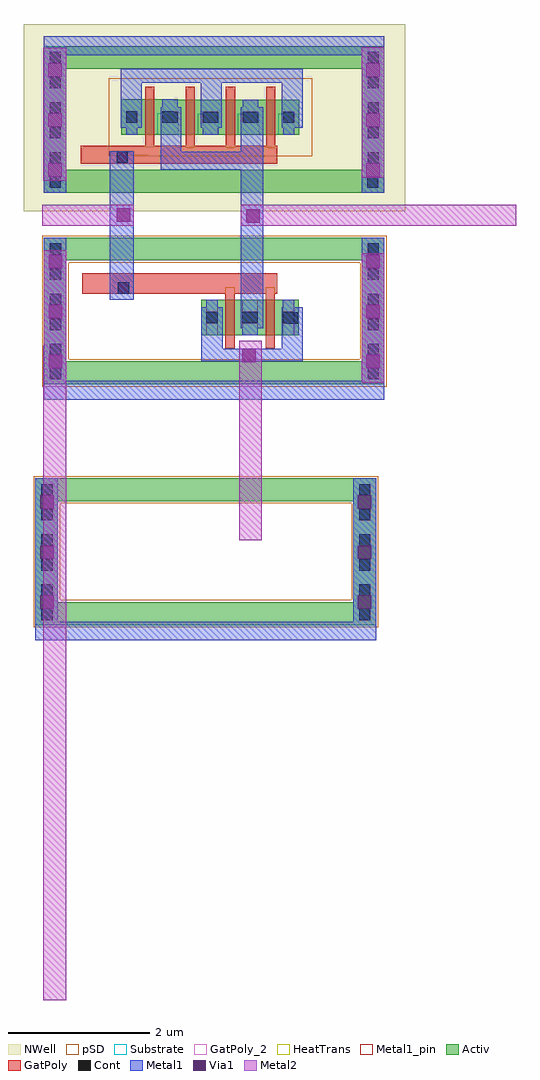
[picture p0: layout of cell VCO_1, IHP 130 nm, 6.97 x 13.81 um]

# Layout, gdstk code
from math import pi, radians
import gdstk
lib = gdstk.Library(unit=1e-6, precision=5e-10)
def R(c, l, rs):  # rectangles x0, y0, x1, y1
    for r in rs: c.add(gdstk.rectangle(r[:2], r[2:], *l))
def A(c, l, x, y, w, h, nx, ny, dx, dy):  # array of equal rectangles
    R(c, l, [(x+i*dx, y+j*dy, x+i*dx+w, y+j*dy+h) for i in range(nx) for j in range(ny)])
Activ = (1, 0)
GatPoly = (5, 0)
GatPoly_2 = (5, 2)
Cont = (6, 0)
Metal1 = (8, 0)
Metal1_pin = (8, 2)
Metal2 = (10, 0)
pSD = (14, 0)
Via1 = (19, 0)
NWell = (31, 0)
Substrate = (40, 0)
HeatTrans = (51, 0)

nmos_4 = lib.new_cell('nmos$4')
R(nmos_4, Activ, [(0,0,0.3,0.3), (0,0,0.81,0.5), (0.51,0,0.81,0.3)])
R(nmos_4, GatPoly, [(0.34,-0.18,0.47,0.68)])
R(nmos_4, GatPoly_2, [(0.34,-0.18,0.47,0.68)])
R(nmos_4, Cont, [(0.07,0.17,0.23,0.33), (0.58,0.17,0.74,0.33)])
R(nmos_4, Metal1, [(0.07,0,0.23,0.5), (0.58,0,0.74,0.5)])
R(nmos_4, Metal1_pin, [(0.07,0,0.23,0.5), (0.58,0,0.74,0.5)])
R(nmos_4, HeatTrans, [(0.34,-0.18,0.47,0.68)])
nmos_4.add(gdstk.Label('nmos', (0.405,0.25), layer=63, texttype=0))
nmos_4.add(gdstk.Label('nmos', (0.405,0.25), layer=51, texttype=0))

pmos_4 = lib.new_cell('pmos$4')
R(pmos_4, Activ, [(0,0,0.3,0.3), (0,0,0.81,0.5), (0.51,0,0.81,0.3)])
R(pmos_4, GatPoly, [(0.34,-0.18,0.47,0.68), (0.34,-0.18,0.47,0.68)])
R(pmos_4, Cont, [(0.07,0.17,0.23,0.33), (0.58,0.17,0.74,0.33)])
R(pmos_4, Metal1, [(0.07,0,0.23,0.5), (0.07,0,0.23,0.5), (0.58,0,0.74,0.5), (0.58,0,0.74,0.5)])
R(pmos_4, pSD, [(-0.18,-0.3,0.99,0.8)])
R(pmos_4, NWell, [(-0.31,-0.31,1.12,0.81)])
R(pmos_4, Substrate, [(0.51,0,0.81,0.3)])
R(pmos_4, HeatTrans, [(0.34,-0.18,0.47,0.68)])
pmos_4.add(gdstk.Label('pmos', (0.405,0.25), layer=63, texttype=0))
pmos_4.add(gdstk.Label('pmos', (0.405,0.25), layer=51, texttype=0))

t2_inverter = lib.new_cell('T2_Inverter')
R(t2_inverter, Activ, [(-4.36,-2.545,0.14,-2.22), (0.14,-2.545,0.46,-0.79), (-4.36,-2.22,-4.04,-0.47), (-4.04,-0.79,0.46,-0.47), (-4.36,0.17,0.14,0.49), (0.14,0.17,0.46,1.92), (-4.36,0.49,-4.04,2.24), (-4.04,1.92,0.46,2.24)])
R(t2_inverter, GatPoly, [(-3.82,-1.26,-1.06,-0.97), (-3.835,0.58,-1.055,0.835)])
A(t2_inverter, Cont, -4.275, -2.13, 0.16, 0.16, 1, 5, 0, 0.355)
A(t2_inverter, Cont, 0.22, -2.13, 0.16, 0.16, 1, 5, 0, 0.355)
A(t2_inverter, Cont, -4.28, 0.58, 0.16, 0.16, 1, 5, 0, 0.355)
A(t2_inverter, Cont, 0.22, 0.58, 0.16, 0.16, 1, 5, 0, 0.355)
R(t2_inverter, Cont, [(-4.275,-2.475,-4.115,-2.31), (0.22,-2.475,0.38,-2.31), (-0.92,-1.685,-0.76,-1.525), (-2.06,-1.68,-1.9,-1.52), (-1.49,-1.68,-1.33,-1.52), (-3.315,-1.26,-3.155,-1.1), (-4.28,0.24,-4.12,0.4), (0.215,0.24,0.375,0.4), (-3.33,0.595,-3.17,0.755)])
R(t2_inverter, Metal1, [(-4.36,-2.76,-4.04,-0.47), (-4.04,-2.76,0.14,-2.495), (0.14,-2.76,0.46,-0.47), (-4.36,-2.545,-4.04,-0.47), (-2.13,-2.22,-1.83,-1.45), (-1.835,-2.22,-0.995,-2.04), (-0.995,-2.22,-0.695,-1.45), (-1.575,-1.75,-1.255,1.38), (-3.43,-1.345,-3.09,0.755), (-4.36,0.17,-4.04,2.38), (0.14,0.17,0.46,2.38), (-2.705,0.49,-2.415,1.38), (-2.415,0.49,-1.575,0.75), (-3.275,1.085,-2.975,1.92), (-0.995,1.085,-0.695,1.92), (-2.14,1.09,-1.84,1.92), (-2.975,1.725,-2.14,1.92), (-1.84,1.725,-0.995,1.92), (-4.04,2.11,0.14,2.38)])
R(t2_inverter, Metal2, [(-4.365,-11.2555,-4.04,-1.995), (-4.36,-2.52,-4.04,-0.645), (0.14,-2.52,0.46,-0.69), (-4.385,-0.3,-3.09,0), (-1.575,-0.3,2.325,0), (-4.365,0.335,-4.045,2.22), (0.14,0.38,0.46,2.225)])
R(t2_inverter, pSD, [(-4.385,-2.575,0.115,-2.19), (0.115,-2.575,0.495,-0.82), (-4.385,-2.19,-4.005,-0.44), (-4.005,-0.82,0.495,-0.44)])
R(t2_inverter, Via1, [(-4.29,-2.315,-4.1,-2.125), (0.205,-2.315,0.395,-2.125), (-1.555,-2.23,-1.365,-2.04), (-4.29,-1.61,-4.1,-1.42), (0.205,-1.61,0.395,-1.42), (-4.29,-0.9,-4.1,-0.71), (0.205,-0.9,0.395,-0.71), (-1.495,-0.255,-1.305,-0.065), (-3.325,-0.24,-3.135,-0.05), (-4.295,0.395,-4.105,0.585), (0.205,0.395,0.395,0.585), (-4.295,1.1,-4.105,1.29), (0.205,1.1,0.395,1.29), (-4.295,1.81,-4.105,2), (0.205,1.81,0.395,2)])
R(t2_inverter, NWell, [(-4.645,-0.095,0.755,2.555)])
t2_inverter.add(gdstk.Reference(nmos_4, (-1.56,-1.85)))
t2_inverter.add(gdstk.Reference(nmos_4, (-2.13,-1.85)))
t2_inverter.add(gdstk.Reference(pmos_4, (-2.695,0.985)))
t2_inverter.add(gdstk.Reference(pmos_4, (-3.265,0.99)))
t2_inverter.add(gdstk.Reference(pmos_4, (-2.125,0.985)))
t2_inverter.add(gdstk.Reference(pmos_4, (-1.555,0.985)))

nmos_bulk = lib.new_cell('nmos_bulk')
R(nmos_bulk, Metal2, [(2.575,0.07,2.895,2.89)])

pmos_bulk = lib.new_cell('pmos_bulk')

vco_1 = lib.new_cell('VCO_1')
R(vco_1, Activ, [(-4.17,-5.83,0.33,-5.505), (0.33,-5.83,0.65,-4.075), (-4.17,-5.505,-3.85,-3.755), (-3.85,-4.075,0.65,-3.755)])
A(vco_1, Cont, -4.085, -5.415, 0.16, 0.16, 1, 5, 0, 0.355)
A(vco_1, Cont, 0.41, -5.415, 0.16, 0.16, 1, 5, 0, 0.355)
R(vco_1, Cont, [(-4.085,-5.76,-3.925,-5.595), (0.41,-5.76,0.57,-5.595)])
R(vco_1, Metal1, [(-4.17,-6.045,-3.85,-3.755), (-3.85,-6.045,0.33,-5.78), (0.33,-6.045,0.65,-3.755), (-4.17,-5.83,-3.85,-3.755)])
R(vco_1, pSD, [(-4.195,-5.86,0.305,-5.475), (0.305,-5.86,0.685,-4.105), (-4.195,-5.475,-3.815,-3.725), (-3.815,-4.105,0.685,-3.725)])
R(vco_1, Via1, [(-4.1,-5.6,-3.91,-5.41), (0.395,-5.6,0.585,-5.41), (-4.1,-4.895,-3.91,-4.705), (0.395,-4.895,0.585,-4.705), (-4.1,-4.185,-3.91,-3.995), (0.395,-4.185,0.585,-3.995)])
vco_1.add(gdstk.Reference(t2_inverter, (0.31,0.12)))
vco_1.add(gdstk.Reference(nmos_bulk, (-3.86,-1.74), x_reflection=True))
vco_1.add(gdstk.Reference(pmos_bulk, (1.225,10.755), rotation=pi, x_reflection=True))

lib.write_gds('VCO_1.gds')
